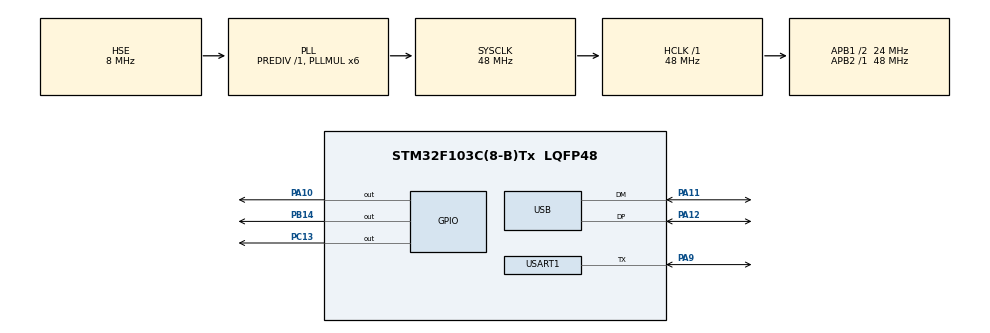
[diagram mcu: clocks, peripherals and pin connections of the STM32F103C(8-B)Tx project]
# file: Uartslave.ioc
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Mcu.Family=STM32F1
Mcu.Name=STM32F103C(8-B)Tx
Mcu.Package=LQFP48
NVIC.PriorityGroup=NVIC_PRIORITYGROUP_4
NVIC.USART1_IRQn=true\:0\:0\:false\:false\:true\:true\:true
NVIC.USB_LP_CAN1_RX0_IRQn=true\:0\:0\:false\:false\:true\:false\:true
PA10.Signal=GPIO_Output
PA11.Mode=Device
PA11.Signal=USB_DM
PA12.Mode=Device
PA12.Signal=USB_DP
PA13.Mode=Serial_Wire
PA13.Signal=SYS_JTMS-SWDIO
PA14.Mode=Serial_Wire
PA14.Signal=SYS_JTCK-SWCLK
PA9.Mode=Half_duplex(single_wire_mode)
PA9.Signal=USART1_TX
PB14.Signal=GPIO_Output
PC13-TAMPER-RTC.Signal=GPIO_Output
PD0-OSC_IN.Mode=HSE-External-Oscillator
PD0-OSC_IN.Signal=RCC_OSC_IN
PD1-OSC_OUT.Mode=HSE-External-Oscillator
PD1-OSC_OUT.Signal=RCC_OSC_OUT
ProjectManager.HeapSize=0x200
ProjectManager.StackSize=0x400
ProjectManager.TargetToolchain=STM32CubeIDE
RCC.AHBFreq_Value=48000000
RCC.APB1CLKDivider=RCC_HCLK_DIV2
RCC.APB1Freq_Value=24000000
RCC.APB1TimFreq_Value=48000000
RCC.APB2Freq_Value=48000000
RCC.APB2TimFreq_Value=48000000
RCC.HCLKFreq_Value=48000000
RCC.PLLMUL=RCC_PLL_MUL6
RCC.PLLSourceVirtual=RCC_PLLSOURCE_HSE
RCC.SYSCLKFreq_VALUE=48000000
RCC.SYSCLKSource=RCC_SYSCLKSOURCE_PLLCLK
RCC.USBFreq_Value=48000000
USART1.BaudRate=9600
USART1.VirtualMode=VM_ASYNC
USB_DEVICE.CLASS_NAME_FS=CDC
USB_DEVICE.VirtualMode=Cdc
USB_DEVICE.VirtualModeFS=Cdc_FS
VP_USB_DEVICE_VS_USB_DEVICE_CDC_FS.Mode=CDC_FS
board=custom

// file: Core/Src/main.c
/* USER CODE BEGIN Header */
/**
  ******************************************************************************
  * @file           : main.c
  * @brief          : Main program body
  ******************************************************************************
  * @attention
  *
  * <h2><center>&copy; Copyright (c) 2020 STMicroelectronics.
  * All rights reserved.</center></h2>
  *
  * This software component is licensed by ST under BSD 3-Clause license,
  * the "License"; You may not use this file except in compliance with the
  * License. You may obtain a copy of the License at:
  *                        opensource.org/licenses/BSD-3-Clause
  *
  ******************************************************************************
  */
/* USER CODE END Header */
#include "main.h"
#include "usb_device.h"

UART_HandleTypeDef huart1;

void SystemClock_Config(void);
static void MX_GPIO_Init(void);
static void MX_USART1_UART_Init(void);

/* USER CODE BEGIN 0 */
/*struct XL_Data{
  uint16_t r,s
}tx_data; */
struct Paket{
uint8_t magic;
uint16_t r,s;
};
uint8_t UART1_rxBuffer[sizeof(struct Paket)+1] = {0};
uint8_t LfCr[4]={0,0,10,13};
struct Paket* strDat;
struct Paket sendDat = {0xAA,0,0};
volatile uint16_t address = 0;
int sendAddrF = 0;
/* USER CODE END 0 */

int main(void)
{
  /* USER CODE BEGIN 1 */
	//HAL_GPIO_WritePin(GPIOA, GPIO_PIN_10, 1);

  /* USER CODE END 1 */

  /* MCU Configuration--------------------------------------------------------*/

  /* Reset of all peripherals, Initializes the Flash interface and the Systick. */
  HAL_Init();

  /* Configure the system clock */
  SystemClock_Config();

  /* Initialize all configured peripherals */
  MX_GPIO_Init();
  MX_USART1_UART_Init();
  MX_USB_DEVICE_Init();
  /* USER CODE BEGIN 2 */
  HAL_UART_Receive_IT (&huart1, UART1_rxBuffer, sizeof(struct Paket));

  /* USER CODE END 2 */

  /* Infinite loop */
  while (1)
  {
	 if((sendAddrF==0)&&(address>100)){
		 HAL_GPIO_WritePin(GPIOA, GPIO_PIN_10, 1);
		 sendDat.r = address+1;
		 sendDat.s = address;
		 uint8_t* x = (uint8_t*)&sendDat;
		 HAL_Delay(200);
		 HAL_UART_Transmit(&huart1, x, sizeof(struct Paket), 100);
		 sendAddrF = 1;

	  }
  }
}

void SystemClock_Config(void)
{
  RCC_OscInitTypeDef RCC_OscInitStruct = {0};
  RCC_ClkInitTypeDef RCC_ClkInitStruct = {0};
  RCC_PeriphCLKInitTypeDef PeriphClkInit = {0};

  /** Initializes the RCC Oscillators according to the specified parameters
  * in the RCC_OscInitTypeDef structure.
  */
  RCC_OscInitStruct.OscillatorType = RCC_OSCILLATORTYPE_HSE;
  RCC_OscInitStruct.HSEState = RCC_HSE_ON;
  RCC_OscInitStruct.HSEPredivValue = RCC_HSE_PREDIV_DIV1;
  RCC_OscInitStruct.HSIState = RCC_HSI_ON;
  RCC_OscInitStruct.PLL.PLLState = RCC_PLL_ON;
  RCC_OscInitStruct.PLL.PLLSource = RCC_PLLSOURCE_HSE;
  RCC_OscInitStruct.PLL.PLLMUL = RCC_PLL_MUL6;
  if (HAL_RCC_OscConfig(&RCC_OscInitStruct) != HAL_OK)
  {
    Error_Handler();
  }
  /** Initializes the CPU, AHB and APB buses clocks
  */
  RCC_ClkInitStruct.ClockType = RCC_CLOCKTYPE_HCLK|RCC_CLOCKTYPE_SYSCLK
                              |RCC_CLOCKTYPE_PCLK1|RCC_CLOCKTYPE_PCLK2;
  RCC_ClkInitStruct.SYSCLKSource = RCC_SYSCLKSOURCE_PLLCLK;
  RCC_ClkInitStruct.AHBCLKDivider = RCC_SYSCLK_DIV1;
  RCC_ClkInitStruct.APB1CLKDivider = RCC_HCLK_DIV2;
  RCC_ClkInitStruct.APB2CLKDivider = RCC_HCLK_DIV1;

  if (HAL_RCC_ClockConfig(&RCC_ClkInitStruct, FLASH_LATENCY_1) != HAL_OK)
  {
    Error_Handler();
  }
  PeriphClkInit.PeriphClockSelection = RCC_PERIPHCLK_USB;
  PeriphClkInit.UsbClockSelection = RCC_USBCLKSOURCE_PLL;
  if (HAL_RCCEx_PeriphCLKConfig(&PeriphClkInit) != HAL_OK)
  {
    Error_Handler();
  }
}

static void MX_USART1_UART_Init(void)
{

  huart1.Instance = USART1;
  huart1.Init.BaudRate = 9600;
  huart1.Init.WordLength = UART_WORDLENGTH_8B;
  huart1.Init.StopBits = UART_STOPBITS_1;
  huart1.Init.Parity = UART_PARITY_NONE;
  huart1.Init.Mode = UART_MODE_TX_RX;
  huart1.Init.HwFlowCtl = UART_HWCONTROL_NONE;
  huart1.Init.OverSampling = UART_OVERSAMPLING_16;
  if (HAL_HalfDuplex_Init(&huart1) != HAL_OK)
  {
    Error_Handler();
  }

}

static void MX_GPIO_Init(void)
{
  GPIO_InitTypeDef GPIO_InitStruct = {0};

  /* GPIO Ports Clock Enable */
  __HAL_RCC_GPIOC_CLK_ENABLE();
  __HAL_RCC_GPIOD_CLK_ENABLE();
  __HAL_RCC_GPIOB_CLK_ENABLE();
  __HAL_RCC_GPIOA_CLK_ENABLE();

  /*Configure GPIO pin Output Level */
  HAL_GPIO_WritePin(GPIOC, GPIO_PIN_13, GPIO_PIN_RESET);

  /*Configure GPIO pin Output Level */
  HAL_GPIO_WritePin(GPIOB, GPIO_PIN_14, GPIO_PIN_RESET);

  /*Configure GPIO pin Output Level */
  HAL_GPIO_WritePin(GPIOA, GPIO_PIN_10, GPIO_PIN_RESET);

  /*Configure GPIO pin : PC13 */
  GPIO_InitStruct.Pin = GPIO_PIN_13;
  GPIO_InitStruct.Mode = GPIO_MODE_OUTPUT_PP;
  GPIO_InitStruct.Pull = GPIO_NOPULL;
  GPIO_InitStruct.Speed = GPIO_SPEED_FREQ_LOW;
  HAL_GPIO_Init(GPIOC, &GPIO_InitStruct);

  /*Configure GPIO pin : PB14 */
  GPIO_InitStruct.Pin = GPIO_PIN_14;
  GPIO_InitStruct.Mode = GPIO_MODE_OUTPUT_PP;
  GPIO_InitStruct.Pull = GPIO_NOPULL;
  GPIO_InitStruct.Speed = GPIO_SPEED_FREQ_LOW;
  HAL_GPIO_Init(GPIOB, &GPIO_InitStruct);

  /*Configure GPIO pin : PA10 */
  GPIO_InitStruct.Pin = GPIO_PIN_10;
  GPIO_InitStruct.Mode = GPIO_MODE_OUTPUT_PP;
  GPIO_InitStruct.Pull = GPIO_NOPULL;
  GPIO_InitStruct.Speed = GPIO_SPEED_FREQ_LOW;
  HAL_GPIO_Init(GPIOA, &GPIO_InitStruct);

}

/* USER CODE BEGIN 4 */
void HAL_UART_RxCpltCallback(UART_HandleTypeDef *huart)
{
    //HAL_UART_Transmit(&huart1, UART1_rxBuffer, 12, 100);
	HAL_GPIO_TogglePin(GPIOC, GPIO_PIN_13);
	strDat = (struct Paket*)&UART1_rxBuffer[0];
	if((address==0)&&(strDat->magic==0xAA)){
		address = strDat->r;
		HAL_GPIO_WritePin(GPIOB, GPIO_PIN_14, 1);
	}
	LfCr[0]= (uint16_t)strDat->r;
	LfCr[1]= (uint16_t)strDat->s;
	CDC_Transmit_FS(LfCr,sizeof(LfCr));
	/*if(recv == 0){
	recv = (int)((UART1_rxBuffer[1] << 8) | UART1_rxBuffer[2] );

	} */
    HAL_UART_Receive_IT(&huart1, UART1_rxBuffer, sizeof(struct Paket));

}

/* USER CODE END 4 */

void Error_Handler(void)
{
}

/************************ (C) COPYRIGHT STMicroelectronics *****END OF FILE****/
